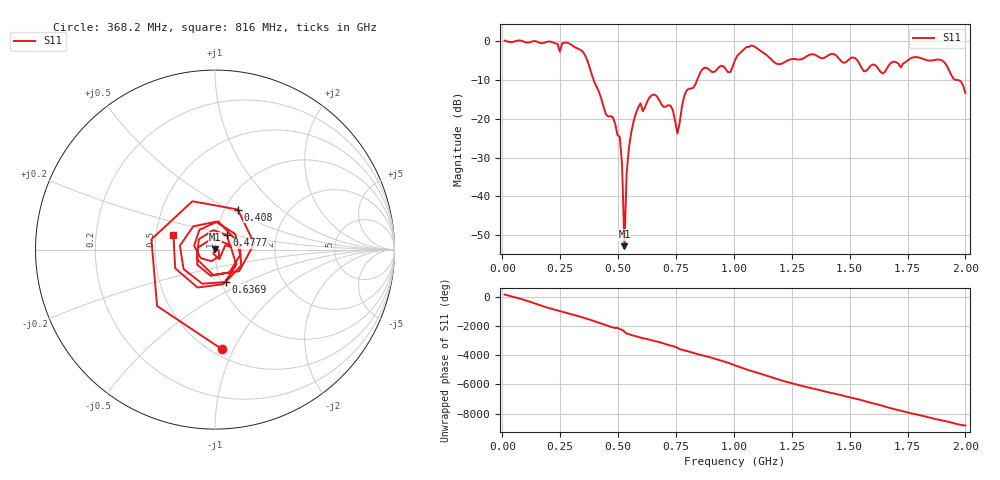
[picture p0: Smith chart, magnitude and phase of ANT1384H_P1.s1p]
!Created with skrf (http://scikit-rf.org).
# Hz S RI R 50.0
!freq ReS11 ImS11
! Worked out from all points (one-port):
!   201 points, 10 MHz to 2 GHz, reference 50 ohm
!   lowest |S11| = -52.8 dB at 527.4 MHz (marker M1), VSWR 1.00, Z = 49.9 + j0.19 ohm
!   |S11| at or under -10 dB: 394.8 MHz to 841.5 MHz (446.8 MHz wide, 72.3 % of centre); 1.962 GHz to end of sweep
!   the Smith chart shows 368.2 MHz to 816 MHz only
!   S11 on the Smith chart (normalised r, x): 368.2 MHz: 0.56, -0.90; 408 MHz: 1.15, +0.55; 477.6 MHz: 1.13, +0.18; 636.9 MHz: 1.05, -0.39; 816 MHz: 0.62, +0.11
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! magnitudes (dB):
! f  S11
! 10 MHz  0.2
! 258.8 MHz  -0.5
! 368.2 MHz  -5.1
! 408 MHz  -11.8
! 447.8 MHz  -18.8
! 477.6 MHz  -19.6
! 507.5 MHz  -24.7
! 517.5 MHz  -32.0
! 527.4 MHz  -52.8
! 537.4 MHz  -33.7
! 557.2 MHz  -23.4
! 587.1 MHz  -17.1
! 636.9 MHz  -14.4
! 726.4 MHz  -16.6
! 756.2 MHz  -23.8
! 786.1 MHz  -14.1
! 816 MHz  -12.2
! 865.7 MHz  -7.1
! 985.1 MHz  -7.9
! 1.005 GHz  -4.9
! 1.075 GHz  -1.1
! 1.184 GHz  -5.8
! 1.254 GHz  -4.6
! 1.502 GHz  -4.4
! 1.642 GHz  -8.3
! 1.751 GHz  -4.9
! 1.901 GHz  -5.0
! 2 GHz  -13.3
